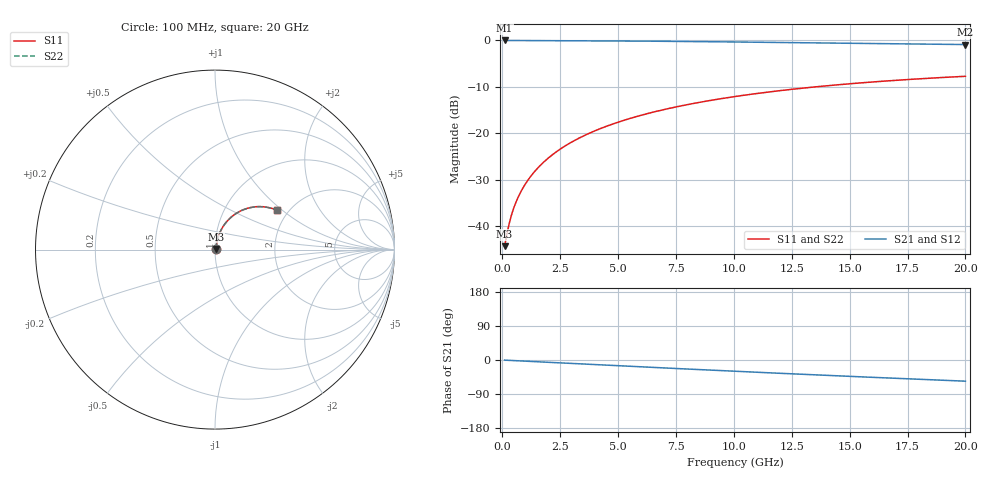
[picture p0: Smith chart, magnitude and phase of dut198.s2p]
! Touchstone file exported from HFSS 2026.1.0
!  File:  C:/ffzhzh/LocalFiles/Ansys_Project_Files/temp_train_TMRDL_198_1782983925_41620.aedt
!  Generated:  05:20:13 PM Jul  2, 2026
!  Design:  TMRDL
!  Project:  temp_train_TMRDL_198_1782983925_41620
! Variables:
!  h_bsmrdl = 2um
!  h_ox = 20um
!  h_rdl = 5um
!  h_sub = 80um
!  h_tmrdl = 2.48um
!  h_tsv = 80um
!  h_via = 3um
!  l_bsmrdl = 300um
!  l_sub = 1288.71um
!  l_tmrdl = 888.71um
!  m_sub = 200um
!  pitch = 45.97um
!  r_tsv = 6um
!  s_tmrdl = 10um
!  w_bsmrdl = 18um
!  w_sub = 500um
!  w_tmrdl = 25.64um
!  x_tsv_center1 = 901.53um
!  x_tsv_center2 = 1219.53um
!  x_tsv_center3 = 2133.88um
!  x_tsv_center4 = 2451.88um
!  x_tsv_center5 = 3366.23um
!  x_tsv_center6 = 3684.23um
# GHz S MA R 50.000000
! Terminal data exported
! Port[1] = TM_RDL1_1_T1
! Port[2] = TM_RDL1_1_T2
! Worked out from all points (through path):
!   200 points, 100 MHz to 20 GHz, reference 50 ohm
!   highest |S21| = -0.05 dB at 100 MHz (marker M1); lowest = -0.9 dB at 20 GHz (marker M2)
!   group delay of S21, straight-line fit = 7.77 ps
!   lowest |S11| = -44.4 dB at 100 MHz (marker M3), VSWR 1.01, Z = 50.5 + j0.31 ohm
!   |S11| at or under -10 dB: start of sweep to 13.61 GHz
!   |S22| runs from -44.4 to -7.8 dB; largest |S21 - S12| = 4.5e-15
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0.1  0.006059 30.4  0.9948 -0.3  0.9948 -0.3  0.006059 30.4
! Gamma 0 0 0 0
! Port Impedance 50 0 50 0
0.2  0.008172 47.7  0.9946 -0.7  0.9946 -0.7  0.008172 47.7
0.3  0.01065 56.6  0.9942 -1.0  0.9942 -1.0  0.01065 56.6
0.4  0.01319 61.7  0.9939 -1.3  0.9939 -1.3  0.01319 61.7
0.5  0.01574 65.1  0.9937 -1.6  0.9937 -1.6  0.01574 65.1
0.6  0.01827 67.5  0.9934 -1.9  0.9934 -1.9  0.01827 67.5
0.8  0.02332 70.8  0.993 -2.5  0.993 -2.5  0.02332 70.8
1.1  0.03096 73.6  0.9926 -3.4  0.9926 -3.4  0.03096 73.6
1.3  0.03609 74.7  0.9923 -4.0  0.9923 -4.0  0.03609 74.7
1.6  0.04384 75.6  0.9918 -4.9  0.9918 -4.9  0.04384 75.6
2.1  0.05682 76.1  0.991 -6.4  0.991 -6.4  0.05682 76.1
2.7  0.0724 75.8  0.9898 -8.2  0.9898 -8.2  0.0724 75.8
3.5  0.09306 74.6  0.9878 -10.6  0.9878 -10.6  0.09307 74.5
4.2  0.1109 73.1  0.9857 -12.7  0.9857 -12.7  0.1109 73.1
5  0.1311 71.2  0.983 -15.1  0.983 -15.1  0.1311 71.2
5.9  0.1533 69.0  0.9794 -17.8  0.9794 -17.8  0.1533 68.9
6.8  0.1749 66.6  0.9753 -20.4  0.9753 -20.4  0.1749 66.6
8.3  0.2096 62.6  0.9678 -24.7  0.9678 -24.7  0.2096 62.5
10.1  0.2487 57.7  0.9578 -29.8  0.9578 -29.8  0.2487 57.7
13.4  0.3126 49.0  0.9377 -38.9  0.9377 -38.9  0.3126 48.9
16.7  0.366 40.5  0.9175 -47.6  0.9175 -47.6  0.3661 40.4
20  0.409 32.4  0.8988 -55.9  0.8988 -55.9  0.4091 32.2
